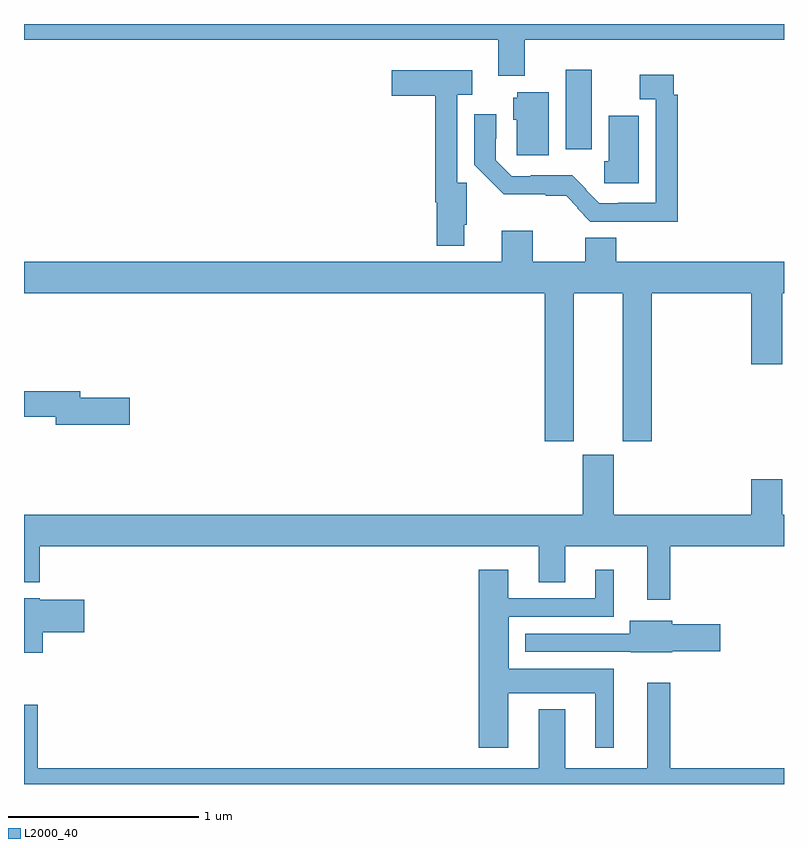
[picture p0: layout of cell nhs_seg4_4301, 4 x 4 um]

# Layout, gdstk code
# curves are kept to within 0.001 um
import gdstk
lib = gdstk.Library(unit=1e-6, precision=1e-09)
def R(c, l, rs):  # rectangles x0, y0, x1, y1
    for r in rs: c.add(gdstk.rectangle(r[:2], r[2:], *l))
def P(c, l, *ps):  # polygons
    for p in ps: c.add(gdstk.Polygon(p, *l))
L2000_40 = (2000, 40)

nhs_seg4_4301 = lib.new_cell('nhs_seg4_4301')
R(nhs_seg4_4301, L2000_40, [(343.85,800.24,343.987,800.659)])
P(nhs_seg4_4301, L2000_40, [(343.636,800.816),(345,800.816),(345,800.9),(341,800.9),(341,800.816),(343.496,800.816),(343.496,800.627),(343.636,800.627)],
  [(343.318,799.843),(343.331,799.843),(343.331,800.064),(343.281,800.064),(343.281,800.527),(343.36,800.527),(343.36,800.656),(342.936,800.656),(342.936,800.522),(343.165,800.522),(343.165,799.961),(343.172,799.961),(343.172,799.733),(343.318,799.733)],
  [(344.441,800.528),(344.421,800.528),(344.421,800.632),(344.241,800.632),(344.241,800.504),(344.325,800.504),(344.325,799.96),(344.128,799.96),(344.128,799.956),(344.028,799.956),(343.956,800.028),(343.959,800.031),(343.885,800.105),(343.666,800.105),(343.666,800.1),(343.566,800.1),(343.482,800.184),(343.482,800.297),(343.486,800.297),(343.486,800.425),(343.37,800.425),(343.37,800.16),(343.525,800.003),(343.745,800.003),(343.745,799.995),(343.853,799.995),(343.915,799.933),(343.911,799.929),(343.981,799.859),(344.441,799.859)],
  [(343.762,800.542),(343.596,800.542),(343.596,800.511),(343.574,800.511),(343.574,800.397),(343.593,800.397),(343.593,800.208),(343.762,800.208)],
  [(344.236,800.416),(344.078,800.416),(344.078,800.178),(344.055,800.178),(344.055,800.061),(344.236,800.061)],
  [(343.894,799.484),(344.15,799.484),(344.15,798.705),(344.303,798.705),(344.303,799.484),(344.828,799.484),(344.828,799.11),(344.992,799.11),(344.992,799.484),(345,799.484),(345,799.648),(344.116,799.648),(344.116,799.774),(343.955,799.774),(343.955,799.648),(343.678,799.648),(343.678,799.813),(343.514,799.813),(343.514,799.648),(341,799.648),(341,799.484),(343.742,799.484),(343.742,798.705),(343.894,798.705)],
  [(341.557,798.932),(341.296,798.932),(341.296,798.968),(341,798.968),(341,798.832),(341.168,798.832),(341.168,798.79),(341.557,798.79)],
  [(344.401,798.152),(345,798.152),(345,798.316),(344.992,798.316),(344.992,798.505),(344.828,798.505),(344.828,798.316),(344.104,798.316),(344.104,798.633),(343.94,798.633),(343.94,798.316),(341,798.316),(341,797.963),(341.084,797.963),(341.084,798.152),(343.709,798.152),(343.709,797.962),(343.849,797.962),(343.849,798.152),(344.279,798.152),(344.279,797.871),(344.401,797.871)],
  [(343.549,797.378),(344.006,797.378),(344.006,797.091),(344.104,797.091),(344.104,797.506),(343.552,797.506),(343.552,797.781),(344.104,797.781),(344.104,798.028),(344.006,798.028),(344.006,797.877),(343.549,797.877),(343.549,798.028),(343.394,798.028),(343.394,797.091),(343.549,797.091)],
  [(341.099,797.699),(341.317,797.699),(341.317,797.869),(341.082,797.869),(341.082,797.878),(341,797.878),(341,797.592),(341.099,797.592)],
  [(344.412,797.6),(344.665,797.6),(344.665,797.742),(344.412,797.742),(344.412,797.758),(344.189,797.758),(344.189,797.691),(343.637,797.691),(343.637,797.595),(344.193,797.595),(344.193,797.594),(344.412,797.594)],
  [(345,796.984),(344.401,796.984),(344.401,797.434),(344.279,797.434),(344.279,796.984),(343.849,796.984),(343.849,797.293),(343.709,797.293),(343.709,796.984),(341.072,796.984),(341.072,797.317),(341,797.317),(341,796.9),(345,796.9)])

lib.write_gds('nhs_seg4_4301.gds')
